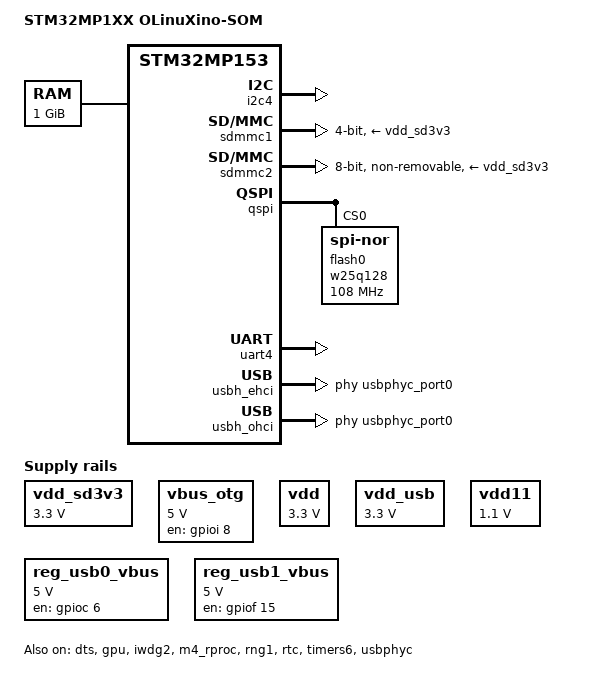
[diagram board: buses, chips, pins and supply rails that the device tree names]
// SPDX-License-Identifier: (GPL-2.0+ OR BSD-3-Clause)
/*
 * Copyright (C) STMicroelectronics 2017 - All Rights Reserved
 * Author: Ludovic Barre <ludovic.barre@st.com> for STMicroelectronics.
 */
/dts-v1/;

#include "stm32mp157.dtsi"
#include "stm32mp15xc.dtsi"
#include "stm32mp15-pinctrl.dtsi"
#include "stm32mp15xxaa-pinctrl.dtsi"
#include <dt-bindings/gpio/gpio.h>
#include <dt-bindings/mfd/st,stpmic1.h>

/ {
	model = "STM32MP1XX OLinuXino-SOM";
	compatible = "olimex,stm32mp1xx-olinuxino-som" , "st,stm32mp153";
	aliases {
		ethernet0 = &ethernet0;
		serial0 = &uart4;
	};

	chosen {
		stdout-path = "serial0:115200n8";
	};

	memory@c0000000 {
		device_type = "memory";
		reg = <0xC0000000 0x40000000>;
	};

	reserved-memory {
		#address-cells = <1>;
		#size-cells = <1>;
		ranges;

		mcuram2: mcuram2@10000000 {
			compatible = "shared-dma-pool";
			reg = <0x10000000 0x40000>;
			no-map;
		};

		vdev0vring0: vdev0vring0@10040000 {
			compatible = "shared-dma-pool";
			reg = <0x10040000 0x1000>;
			no-map;
		};

		vdev0vring1: vdev0vring1@10041000 {
			compatible = "shared-dma-pool";
			reg = <0x10041000 0x1000>;
			no-map;
		};

		vdev0buffer: vdev0buffer@10042000 {
			compatible = "shared-dma-pool";
			reg = <0x10042000 0x4000>;
			no-map;
		};

		mcuram: mcuram@30000000 {
			compatible = "shared-dma-pool";
			reg = <0x30000000 0x40000>;
			no-map;
		};

		retram: retram@38000000 {
			compatible = "shared-dma-pool";
			reg = <0x38000000 0x10000>;
			no-map;
		};

		gpu_reserved: gpu@e8000000 {
			reg = <0xe8000000 0x8000000>;
			no-map;
		};
	};

	aliases {
		serial0 = &uart4;
	};

	vdd_sd3v3: regulator_vdd {
		compatible = "regulator-fixed";
		regulator-name = "vdd-sd";
		regulator-min-microvolt = <3300000>;
		regulator-max-microvolt = <3300000>;
		enable-active-high;
		regulator-always-on;
		regulator-initial-mode = <0>;
		//regulator-over-current-protection;
	};
	vbus_otg: regulator_otg {
		compatible = "regulator-fixed";
		regulator-name = "vdd-otg";
		regulator-min-microvolt = <5000000>;
		regulator-max-microvolt = <5000000>;
		enable-active-high;
		regulator-always-on;
		regulator-initial-mode = <0>;
		//regulator-over-current-protection;
	};
	vdd: vdd {
		compatible = "regulator-fixed";
		regulator-name = "vdd";
		regulator-min-microvolt = <3300000>;
		regulator-max-microvolt = <3300000>;
		enable-active-high;
		regulator-always-on;
		regulator-initial-mode = <0>;
		//regulator-over-current-protection;
	};
	vdd_usb: vdd-usb {
		compatible = "regulator-fixed";
		regulator-name = "vdd-usb";
		regulator-min-microvolt = <3300000>;
		regulator-max-microvolt = <3300000>;
		enable-active-high;
		regulator-always-on;
		regulator-initial-mode = <0>;
		//regulator-over-current-protection;
	};
	vdd11: vdd11 {
		compatible = "regulator-fixed";
		regulator-name = "vdd11";
		regulator-min-microvolt = <1100000>;
		regulator-max-microvolt = <1100000>;
		enable-active-high;
		regulator-always-on;
		regulator-initial-mode = <0>;
		//regulator-over-current-protection;
	};

	vbus_otg: regulator_otg {
		 compatible = "regulator-fixed";
                regulator-name = "vdd-otg";
                regulator-min-microvolt = <5000000>;
                regulator-max-microvolt = <5000000>;
                gpios = <&gpioi 8 GPIO_ACTIVE_LOW>;
                enable-active-high;

	};

	vdd: vdd {
		compatible = "regulator-fixed";
		regulator-name = "vdd";
		regulator-min-microvolt = <3300000>;
		regulator-max-microvolt = <3300000>;
		enable-active-high;
		regulator-always-on;
		regulator-initial-mode = <0>;
		//regulator-over-current-protection;
	};
	reg_usb0_vbus: usb0-vbus {
		compatible = "regulator-fixed";
		regulator-name = "usb0-vbus";
		regulator-min-microvolt = <5000000>;
		regulator-max-microvolt = <5000000>;
		enable-active-high;
		regulator-always-on;
		gpio = <&gpioc 6 GPIO_ACTIVE_HIGH>;
		status = "disabled";
	};
	reg_usb1_vbus: usb1-vbus {
		compatible = "regulator-fixed";
		regulator-name = "usb1-vbus";
		regulator-min-microvolt = <5000000>;
		regulator-max-microvolt = <5000000>;
		enable-active-high;
		regulator-always-on;
		gpio = <&gpiof 15 GPIO_ACTIVE_HIGH>;
		status = "disabled";
	};
};

&dac {
	pinctrl-names = "default";
	pinctrl-0 = <&dac_ch1_pins_a &dac_ch2_pins_a>;
	status = "disabled";
};

&dts {
	status = "okay";
};

&gpu {
	contiguous-area = <&gpu_reserved>;
	status = "okay";
};

&reg_usb0_vbus {
	status="okay";
};

&reg_usb1_vbus {
	status="okay";
};

&i2c4 {
	pinctrl-names = "default";
	pinctrl-0 = <&i2c4_pins_a>;
//	i2c-scl-rising-time-ns = <185>;
//	i2c-scl-falling-time-ns = <20>;
	status = "okay";
	/* spare dmas for other usage */
	/delete-property/dmas;
	/delete-property/dma-names;

	pmic: stpmic@33 {
		compatible = "st,stpmic1";
		reg = <0x33>;
		interrupts-extended = <&gpioa 0 IRQ_TYPE_EDGE_FALLING>;
		interrupt-controller;
		#interrupt-cells = <2>;
		status = "disabled";
	};
};

&ipcc {
	status = "okay";
};

&iwdg2 {
	timeout-sec = <32>;
	status = "okay";
};

&m4_rproc {
	memory-region = <&retram>, <&mcuram>, <&mcuram2>, <&vdev0vring0>,
			<&vdev0vring1>, <&vdev0buffer>;
	mboxes = <&ipcc 0>, <&ipcc 1>, <&ipcc 2>;
	mbox-names = "vq0", "vq1", "shutdown";
	interrupt-parent = <&exti>;
	interrupts = <68 1>;
	status = "okay";
};

&pwr_regulators {
	vdd-supply = <&vdd>;
	vdd_3v3_usbfs-supply = <&vdd_usb>;
};

&rng1 {
	status = "okay";
};

&rtc {
	status = "okay";
};

&sdmmc1 {
	pinctrl-names = "default", "opendrain", "sleep";
	pinctrl-0 = <&sdmmc1_b4_pins_a &sdmmc1_dir_pins_a>;
	pinctrl-1 = <&sdmmc1_b4_od_pins_a &sdmmc1_dir_pins_a>;
	pinctrl-2 = <&sdmmc1_b4_sleep_pins_a &sdmmc1_dir_sleep_pins_a>;
	broken-cd;
	st,neg-edge;
	bus-width = <4>;
	vmmc-supply = <&vdd_sd3v3>;
	/*vqmmc-supply = <&sd_switch>;*/
	status = "okay";
};

&sdmmc2 {
	pinctrl-names = "default", "opendrain", "sleep";
	pinctrl-0 = <&sdmmc2_b4_pins_a &sdmmc2_d47_pins_a>;
	pinctrl-1 = <&sdmmc2_b4_od_pins_a &sdmmc2_d47_pins_a>;
	pinctrl-2 = <&sdmmc2_b4_sleep_pins_a &sdmmc2_d47_sleep_pins_a>;
	non-removable;
	no-sd;
	no-sdio;
	st,neg-edge;
	bus-width = <8>;
	vmmc-supply = <&vdd_sd3v3>;
	vqmmc-supply = <&vdd_sd3v3>;
	mmc-ddr-3_3v;
	status = "okay";
};

&timers6 {
	status = "okay";
	/* spare dmas for other usage */
	/delete-property/dmas;
	/delete-property/dma-names;
	timer@5 {
		status = "okay";
	};
};


&qspi {
	pinctrl-names = "default", "sleep";
	pinctrl-0 = <&qspi_clk_pins_a &qspi_bk1_pins_a &qspi_bk2_pins_a>;
	pinctrl-1 = <&qspi_clk_sleep_pins_a &qspi_bk1_sleep_pins_a &qspi_bk2_sleep_pins_a>;
	reg = <0x58003000 0x1000>, <0x70000000 0x4000000>;
	#address-cells = <1>;
	#size-cells = <0>;
	status = "okay";

	flash0: w25q128@0 {
		compatible = "jedec,spi-nor", "winbond,w25q128";
		reg = <0>;
		spi-rx-bus-width = <4>;
		spi-max-frequency = <108000000>;
		#address-cells = <1>;
		#size-cells = <1>;
	};
};

&spi1 {
	pinctrl-names = "default";
	pinctrl-0 = <&spi1_pins_a>;
	status = "disabled";
};


&uart4 {
	pinctrl-names = "default";
	pinctrl-0 = <&uart4_pins_a>;
	status = "okay";
};

&usbphyc {
        status = "okay";
};

&usbphyc_port0 {
        phy-supply = <&vdd_usb>;
};

&usbphyc_port1 {
        phy-supply = <&vdd_usb>;
};

&usbh_ehci {
        phys = <&usbphyc_port0>, <&usbphyc_port1 1>;
        phy-names = "usb", "usb";
        status = "okay";
};

&usbh_ohci {
        phys = <&usbphyc_port0>, <&usbphyc_port1 1>;
        phy-names = "usb", "usb";
        status = "okay";
};

